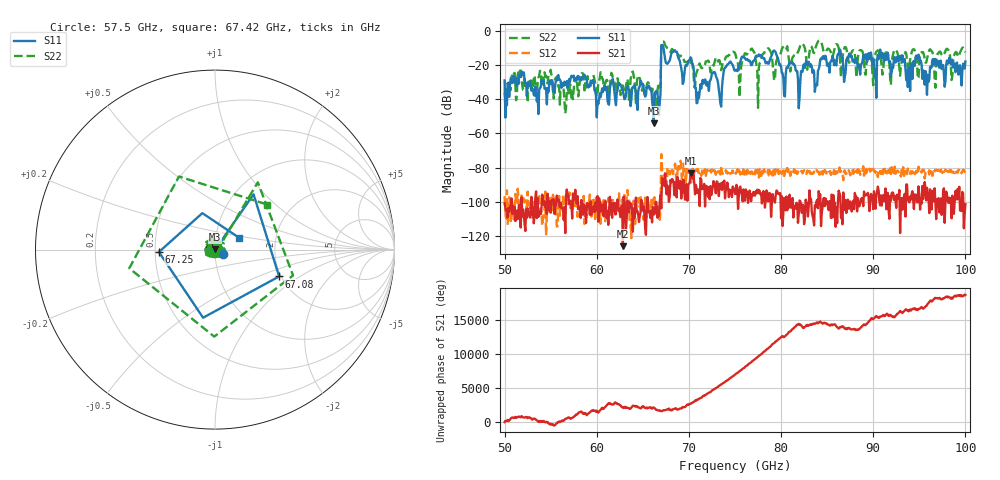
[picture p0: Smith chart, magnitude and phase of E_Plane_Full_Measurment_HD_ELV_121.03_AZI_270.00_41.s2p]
! 11/26/2026 3:36:45 PM
! C:\ANRITSUVNA\TEMP\TEMP.S2P
! CHANNEL.1
! TR.MEASUREMENT
! RAW.DATA
# HZ S RI R 50.0
! FREQ.HZ  S11RE  S11IM  S21RE  S21IM  S12RE  S12IM  S22RE  S22IM
!; PortSelection: Port_12
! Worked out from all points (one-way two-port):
!   601 points, 50 GHz to 100 GHz, reference 50 ohm
!   highest |S21| = -83.32 dB at 70.25 GHz (marker M1); lowest = -126.0 dB at 62.83 GHz (marker M2)
!   lowest |S11| = -54.1 dB at 66.17 GHz (marker M3), VSWR 1.00, Z = 50.1 + j0.143 ohm
!   |S11| at or under -10 dB: start of sweep to 67 GHz; 67.25 GHz to end of sweep
!   |S22| runs from -48.4 to -5.6 dB; largest |S21 - S12| = 0.00025
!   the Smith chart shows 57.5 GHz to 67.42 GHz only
!   S11 on the Smith chart (normalised r, x): 57.5 GHz: 1.09, -0.05; 67.08 GHz: 1.95, -0.69; 67.25 GHz: 0.52, -0.02; 67.42 GHz: 1.29, +0.18
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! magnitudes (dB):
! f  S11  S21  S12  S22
! 50 GHz  -29.0  -100.9  -96.8  -35.7
! 51.67 GHz  -26.3  -109.1  -102.3  -23.3
! 57.5 GHz  -26.2  -99.0  -103.6  -34.6
! 58.42 GHz  -27.2  -106.0  -106.9  -24.7
! 60.17 GHz  -42.9  -111.7  -104.4  -30.4
! 62.83 GHz  -34.7  -126.0  -103.2  -31.9
! 66.17 GHz  -54.1  -106.1  -100.4  -34.0
! 66.67 GHz  -41.5  -106.8  -103.7  -31.6
! 67.08 GHz  -8.2  -86.2  -81.1  -6.8
! 67.25 GHz  -10.1  -87.1  -83.5  -6.2
! 67.42 GHz  -16.5  -83.4  -87.2  -8.3
! 70.25 GHz  -16.0  -83.3  -88.7  -18.8
! 70.92 GHz  -42.1  -94.9  -80.7  -23.1
! 75 GHz  -23.3  -95.5  -82.6  -13.0
! 79.25 GHz  -11.5  -98.7  -82.3  -28.9
! 80.25 GHz  -27.9  -106.4  -81.7  -9.3
! 83.42 GHz  -24.5  -108.3  -83.2  -10.8
! 91.67 GHz  -16.7  -105.1  -81.5  -15.2
! 93.75 GHz  -32.8  -99.2  -80.6  -21.3
! 94.83 GHz  -15.0  -100.2  -84.2  -27.9
! 95.83 GHz  -37.4  -91.9  -81.6  -16.5
! 100 GHz  -17.9  -101.4  -82.7  -12.6
